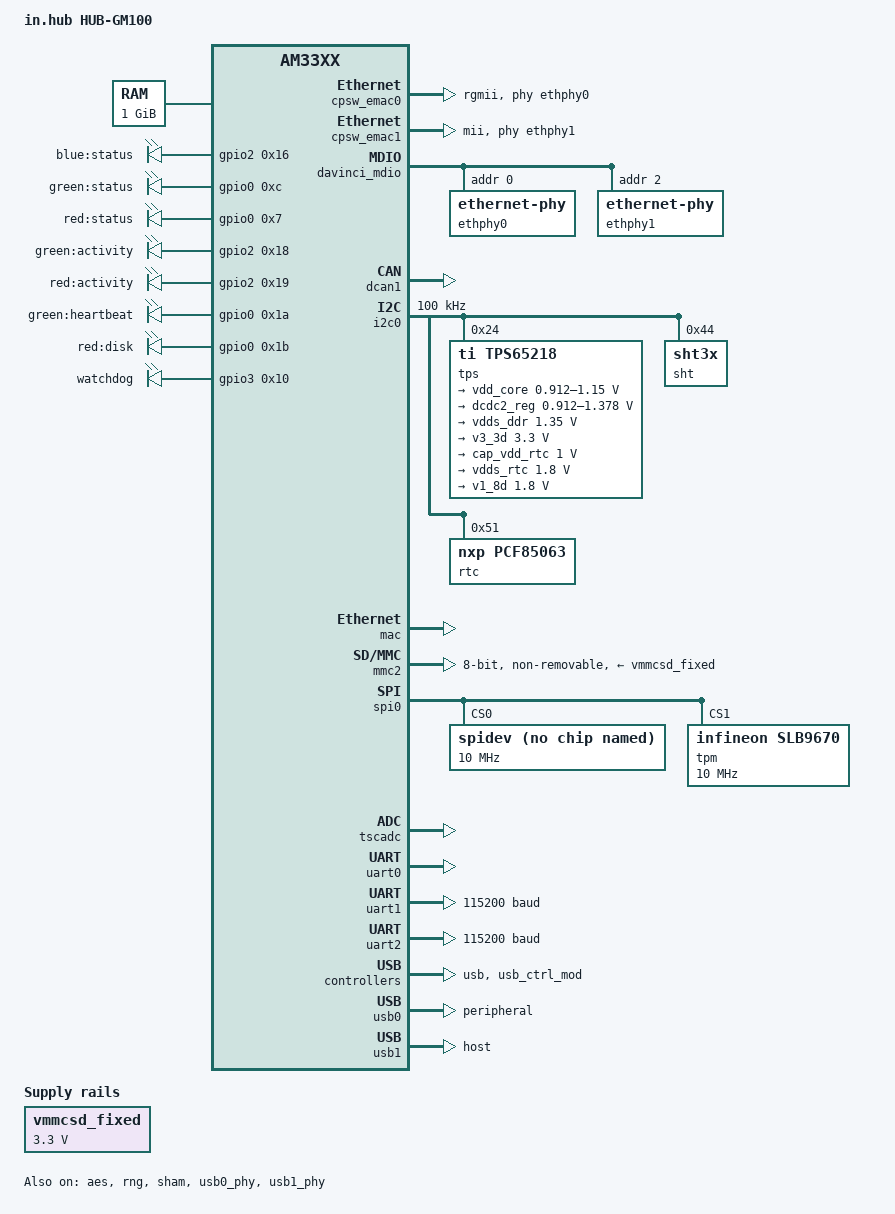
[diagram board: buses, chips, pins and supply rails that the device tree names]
// SPDX-License-Identifier: GPL-2.0-only
/*
 * Copyright 2025 in.hub GmbH
 */

/dts-v1/;

#include "am33xx.dtsi"

/ {
	model = "in.hub HUB-GM100";
	compatible = "ti,am335x-duoSol-I-xCom1", "inhub,hub-gm100", "ti,am33xx";

	cpus {
		cpu@0 {
			cpu0-supply = <&dcdc2_reg>;
		};
	};

	aliases {
		mmc0 = &mmc2;
		/delete-node/ mmc1;
		/delete-node/ mmc2;
	};

	memory {
		device_type = "memory";
		reg = <0x80000000 0x40000000>;
	};

	chosen {
		stdout-path = &uart0;
		tick-timer = &timer2;
	};

	vmmcsd_fixed: fixedregulator@0 {
		compatible = "regulator-fixed";
		regulator-name = "vmmcsd_fixed";
		regulator-min-microvolt = <3300000>;
		regulator-max-microvolt = <3300000>;
		regulator-boot-on;
	};

	leds {
		compatible = "gpio-leds";

		led_blue_status: blue-status {
			label = "blue:status";
			gpios = <&gpio2 0x16 0x0>;
			default-state = "off";
		};

		led_green_status: green-status {
			label = "green:status";
			gpios = <&gpio0 0xc 0x0>;
			default-state = "off";
		};

		led_red_status: red-status {
			label = "red:status";
			gpios = <&gpio0 0x7 0x0>;
			default-state = "off";
		};

		led_green_activity: green-activity {
			label = "green:activity";
			gpios = <&gpio2 0x18 0x0>;
			default-state = "off";
		};

		led_red_activity: red-activity {
			label = "red:activity";
			gpios = <&gpio2 0x19 0x0>;
			default-state = "off";
		};

		led_green_heartbeat: green-heartbeat {
			label = "green:heartbeat";
			gpios = <&gpio0 0x1a 0x0>;
			linux,default-trigger = "timer";
		};

		led_red_disk: red-disk {
			label = "red:disk";
			gpios = <&gpio0 0x1b 0x0>;
			default-state = "off";
			linux,default-trigger = "mmc0";
		};

		watchdog {
			label = "watchdog";
			gpios = <&gpio3 0x10 0x0>;
			linux,default-trigger = "heartbeat";
			default-state = "off";
		};
	};

};

&am33xx_pinmux {
	i2c0_pins: pinmux_i2c0_pins {
		pinctrl-single,pins = <
			AM33XX_PADCONF(AM335X_PIN_I2C0_SCL, PIN_INPUT, MUX_MODE0)
			AM33XX_PADCONF(AM335X_PIN_I2C0_SDA, PIN_INPUT, MUX_MODE0)
		>;
	};

	uart0_pins: pinmux_uart0_pins {
		pinctrl-single,pins = <
			AM33XX_PADCONF(AM335X_PIN_UART0_RXD, PIN_INPUT, MUX_MODE0)
			AM33XX_PADCONF(AM335X_PIN_UART0_TXD, PIN_OUTPUT, MUX_MODE0)
		>;
	};

	uart1_rs485_0_pins: pinmux_uart1_rs485_0_pins {
		pinctrl-single,pins = <
			AM33XX_PADCONF(AM335X_PIN_UART1_RXD, PIN_INPUT, MUX_MODE0)
			AM33XX_PADCONF(AM335X_PIN_UART1_TXD, PIN_OUTPUT, MUX_MODE0)
			AM33XX_PADCONF(AM335X_PIN_UART1_RTSN, PIN_OUTPUT, MUX_MODE7)
		>;
	};

	uart2_rs485_1_pins: pinmux_uart2_rs485_1_pins {
		pinctrl-single,pins = <
			AM33XX_PADCONF(AM335X_PIN_MII1_CRS, PIN_INPUT, MUX_MODE6)
			AM33XX_PADCONF(AM335X_PIN_MII1_RX_ER, PIN_OUTPUT, MUX_MODE6)
			AM33XX_PADCONF(AM335X_PIN_LCD_DATA9, PIN_OUTPUT, MUX_MODE7)
		>;
	};

	spi0_pins: spi0_pins_default {
		pinctrl-single,pins = <
			AM33XX_PADCONF(AM335X_PIN_SPI0_SCLK, PIN_INPUT_PULLUP, MUX_MODE0)
			AM33XX_PADCONF(AM335X_PIN_SPI0_D0, PIN_INPUT_PULLUP, MUX_MODE0)
			AM33XX_PADCONF(AM335X_PIN_SPI0_D1, PIN_INPUT_PULLUP, MUX_MODE0)
			AM33XX_PADCONF(AM335X_PIN_SPI0_CS0, PIN_INPUT_PULLUP, MUX_MODE0)
			AM33XX_PADCONF(AM335X_PIN_SPI0_CS1, PIN_INPUT_PULLUP, MUX_MODE0)
		>;
	};

	dcan1_pins: pinmux_dcan1_pins {
		pinctrl-single,pins = <
			AM33XX_IOPAD(0x096c, PIN_INPUT_PULLUP | MUX_MODE2) /* uart0_rtsn.dcan1_rx */
			AM33XX_IOPAD(0x0968, PIN_OUTPUT_PULLUP | MUX_MODE2) /* uart0_ctsn.dcan1_tx */
		>;
	};

	davinci_mdio_default: pinmux_mdio_pins_default {
		pinctrl-single,pins = <
			/* MDIO */
			AM33XX_IOPAD(AM335X_PIN_MDIO, PIN_INPUT_PULLUP | SLEWCTRL_FAST | MUX_MODE0)	/* mdio_data.mdio_data */
			AM33XX_IOPAD(AM335X_PIN_MDC, PIN_OUTPUT_PULLUP | MUX_MODE0)			/* mdio_clk.mdio_clk */
		>;
	};

	davinci_mdio_sleep: davinci_mdio_sleep {
		pinctrl-single,pins = <
			/* MDIO reset value */
			AM33XX_PADCONF(AM335X_PIN_MDIO, PIN_INPUT_PULLDOWN, MUX_MODE7)
			AM33XX_PADCONF(AM335X_PIN_MDC, PIN_INPUT_PULLDOWN, MUX_MODE7)
		>;
	};

	cpsw_default: cpsw-default {
		pinctrl-single,pins = <
			AM33XX_PADCONF(AM335X_PIN_MII1_TX_EN, PIN_OUTPUT_PULLDOWN, MUX_MODE2)	/* mii1_txen.rgmii1_tctl */
			AM33XX_PADCONF(AM335X_PIN_MII1_RX_DV, PIN_INPUT_PULLDOWN, MUX_MODE2)		/* mii1_rxdv.rgmii1_rctl */
			AM33XX_PADCONF(AM335X_PIN_MII1_TXD3, PIN_OUTPUT_PULLDOWN, MUX_MODE2)
			AM33XX_PADCONF(AM335X_PIN_MII1_TXD2, PIN_OUTPUT_PULLDOWN, MUX_MODE2)
			AM33XX_PADCONF(AM335X_PIN_MII1_TXD1, PIN_OUTPUT_PULLDOWN, MUX_MODE2)
			AM33XX_PADCONF(AM335X_PIN_MII1_TXD0, PIN_OUTPUT_PULLDOWN, MUX_MODE2)
			AM33XX_PADCONF(AM335X_PIN_MII1_TX_CLK, PIN_OUTPUT_PULLDOWN, MUX_MODE2)
			AM33XX_PADCONF(AM335X_PIN_MII1_RX_CLK, PIN_INPUT_PULLDOWN, MUX_MODE2)
			AM33XX_PADCONF(AM335X_PIN_MII1_RXD3, PIN_INPUT_PULLDOWN, MUX_MODE2)
			AM33XX_PADCONF(AM335X_PIN_MII1_RXD2, PIN_INPUT_PULLDOWN, MUX_MODE2)
			AM33XX_PADCONF(AM335X_PIN_MII1_RXD1, PIN_INPUT_PULLDOWN, MUX_MODE2)
			AM33XX_PADCONF(AM335X_PIN_MII1_RXD0, PIN_INPUT_PULLDOWN, MUX_MODE2)
		>;
	};

	cpsw_sleep: cpsw-sleep {
		pinctrl-single,pins = <
			AM33XX_PADCONF(AM335X_PIN_MII1_TX_EN, PIN_INPUT_PULLDOWN, MUX_MODE7)
			AM33XX_PADCONF(AM335X_PIN_MII1_RX_DV, PIN_INPUT_PULLDOWN, MUX_MODE7)
			AM33XX_PADCONF(AM335X_PIN_MII1_TXD3, PIN_INPUT_PULLDOWN, MUX_MODE7)
			AM33XX_PADCONF(AM335X_PIN_MII1_TXD2, PIN_INPUT_PULLDOWN, MUX_MODE7)
			AM33XX_PADCONF(AM335X_PIN_MII1_TXD1, PIN_INPUT_PULLDOWN, MUX_MODE7)
			AM33XX_PADCONF(AM335X_PIN_MII1_TXD0, PIN_INPUT_PULLDOWN, MUX_MODE7)
			AM33XX_PADCONF(AM335X_PIN_MII1_TX_CLK, PIN_INPUT_PULLDOWN, MUX_MODE7)
			AM33XX_PADCONF(AM335X_PIN_MII1_RX_CLK, PIN_INPUT_PULLDOWN, MUX_MODE7)
			AM33XX_PADCONF(AM335X_PIN_MII1_RXD3, PIN_INPUT_PULLDOWN, MUX_MODE7)
			AM33XX_PADCONF(AM335X_PIN_MII1_RXD2, PIN_INPUT_PULLDOWN, MUX_MODE7)
			AM33XX_PADCONF(AM335X_PIN_MII1_RXD1, PIN_INPUT_PULLDOWN, MUX_MODE7)
			AM33XX_PADCONF(AM335X_PIN_MII1_RXD0, PIN_INPUT_PULLDOWN, MUX_MODE7)
		>;
	};

	ethernet1_default: ethernet1_pins_default {
		pinctrl-single,pins = <
			AM33XX_PADCONF(AM335X_PIN_GPMC_A0, PIN_OUTPUT, MUX_MODE1)		/* gpmc_a0.mii2_txen */
			AM33XX_PADCONF(AM335X_PIN_GPMC_A1, PIN_INPUT_PULLDOWN, MUX_MODE1)	/* gpmc_a1.mii2_rxdv */
			AM33XX_PADCONF(AM335X_PIN_GPMC_A2, PIN_OUTPUT, MUX_MODE1)		/* gpmc_a2.mii2_txd3 */
			AM33XX_PADCONF(AM335X_PIN_GPMC_A3, PIN_OUTPUT, MUX_MODE1)		/* gpmc_a3.mii2_txd2 */
			AM33XX_PADCONF(AM335X_PIN_GPMC_A4, PIN_OUTPUT, MUX_MODE1)		/* gpmc_a4.mii2_txd1 */
			AM33XX_PADCONF(AM335X_PIN_GPMC_A5, PIN_OUTPUT, MUX_MODE1)		/* gpmc_a5.mii2_txd0 */
			AM33XX_PADCONF(AM335X_PIN_GPMC_A6, PIN_INPUT_PULLDOWN, MUX_MODE1)	/* gpmc_a6.mii2_txclk */
			AM33XX_PADCONF(AM335X_PIN_GPMC_A7, PIN_INPUT_PULLDOWN, MUX_MODE1)	/* gpmc_a7.mii2_rxclk */
			AM33XX_PADCONF(AM335X_PIN_GPMC_A8, PIN_INPUT_PULLDOWN, MUX_MODE1)	/* gpmc_a8.mii2_rxd3 */
			AM33XX_PADCONF(AM335X_PIN_GPMC_A9, PIN_INPUT_PULLDOWN, MUX_MODE1)	/* gpmc_a9.mii2_rxd2 */
			AM33XX_PADCONF(AM335X_PIN_GPMC_A10, PIN_INPUT_PULLDOWN, MUX_MODE1)	/* gpmc_a10.mii2_rxd1 */
			AM33XX_PADCONF(AM335X_PIN_GPMC_A11, PIN_INPUT_PULLDOWN, MUX_MODE1)	/* gpmc_a11.mii2_rxd0 */
			AM33XX_PADCONF(AM335X_PIN_GPMC_WPN, PIN_INPUT_PULLDOWN, MUX_MODE1)	/* gpmc_wpn.mii2_rxerr */
			AM33XX_PADCONF(AM335X_PIN_GPMC_BEN1, PIN_INPUT_PULLDOWN, MUX_MODE1)	/* gpmc_ben1.mii2_col */
		>;
	};

	ethernet1_sleep: ethernet1_pins_sleep {
		pinctrl-single,pins = <
			AM33XX_PADCONF(AM335X_PIN_GPMC_A0, PIN_OUTPUT, MUX_MODE7)
			AM33XX_PADCONF(AM335X_PIN_GPMC_A1, PIN_INPUT_PULLDOWN, MUX_MODE7)
			AM33XX_PADCONF(AM335X_PIN_GPMC_A2, PIN_OUTPUT, MUX_MODE7)
			AM33XX_PADCONF(AM335X_PIN_GPMC_A3, PIN_OUTPUT, MUX_MODE7)
			AM33XX_PADCONF(AM335X_PIN_GPMC_A4, PIN_OUTPUT, MUX_MODE7)
			AM33XX_PADCONF(AM335X_PIN_GPMC_A5, PIN_OUTPUT, MUX_MODE7)
			AM33XX_PADCONF(AM335X_PIN_GPMC_A6, PIN_INPUT_PULLDOWN, MUX_MODE7)
			AM33XX_PADCONF(AM335X_PIN_GPMC_A7, PIN_INPUT_PULLDOWN, MUX_MODE7)
			AM33XX_PADCONF(AM335X_PIN_GPMC_A8, PIN_INPUT_PULLDOWN, MUX_MODE7)
			AM33XX_PADCONF(AM335X_PIN_GPMC_A9, PIN_INPUT_PULLDOWN, MUX_MODE7)
			AM33XX_PADCONF(AM335X_PIN_GPMC_A10, PIN_INPUT_PULLDOWN, MUX_MODE7)
			AM33XX_PADCONF(AM335X_PIN_GPMC_A11, PIN_INPUT_PULLDOWN, MUX_MODE7)
			AM33XX_PADCONF(AM335X_PIN_GPMC_WPN, PIN_INPUT_PULLDOWN, MUX_MODE7)
			AM33XX_PADCONF(AM335X_PIN_GPMC_BEN1, PIN_INPUT_PULLDOWN, MUX_MODE7)
		>;
	};

	emmc_pins: pinmux_emmc_pins {
		pinctrl-single,pins = <
			AM33XX_PADCONF(AM335X_PIN_GPMC_CSN1, PIN_INPUT_PULLUP, MUX_MODE2)	/* gpmc_csn1.mmc1_clk */
			AM33XX_PADCONF(AM335X_PIN_GPMC_CSN2, PIN_INPUT_PULLUP, MUX_MODE2)	/* gpmc_csn2.mmc1_cmd */
			AM33XX_PADCONF(AM335X_PIN_GPMC_AD0, PIN_INPUT_PULLUP, MUX_MODE1)	/* gpmc_ad0.mmc1_dat0 */
			AM33XX_PADCONF(AM335X_PIN_GPMC_AD1, PIN_INPUT_PULLUP, MUX_MODE1)	/* gpmc_ad1.mmc1_dat1 */
			AM33XX_PADCONF(AM335X_PIN_GPMC_AD2, PIN_INPUT_PULLUP, MUX_MODE1)	/* gpmc_ad2.mmc1_dat2 */
			AM33XX_PADCONF(AM335X_PIN_GPMC_AD3, PIN_INPUT_PULLUP, MUX_MODE1)	/* gpmc_ad3.mmc1_dat3 */
			AM33XX_PADCONF(AM335X_PIN_GPMC_AD4, PIN_INPUT_PULLUP, MUX_MODE1)	/* gpmc_ad4.mmc1_dat4 */
			AM33XX_PADCONF(AM335X_PIN_GPMC_AD5, PIN_INPUT_PULLUP, MUX_MODE1)	/* gpmc_ad5.mmc1_dat5 */
			AM33XX_PADCONF(AM335X_PIN_GPMC_AD6, PIN_INPUT_PULLUP, MUX_MODE1)	/* gpmc_ad6.mmc1_dat6 */
			AM33XX_PADCONF(AM335X_PIN_GPMC_AD7, PIN_INPUT_PULLUP, MUX_MODE1)	/* gpmc_ad7.mmc1_dat7 */
		>;
	};

	emmc_idle: pinmux_cirq_pin {
		pinctrl-single,pins = <
			AM33XX_PADCONF(AM335X_PIN_GPMC_AD1, PIN_INPUT_PULLUP, MUX_MODE7)	/* gpmc_ad1.gpio1_1 */
		>;
	};

	pinmux_usb1_pins_default {
		pinctrl-single,pins = <
			AM33XX_PADCONF(AM335X_PIN_USB1_DRVVBUS, PIN_OUTPUT, MUX_MODE0)
		>;
	};

	gpio0_pins: pinmux_gpio0_pins {
		pinctrl-single,pins = <
			AM33XX_PADCONF(AM335X_PIN_ECAP0_IN_PWM0_OUT, PIN_INPUT, MUX_MODE7)
			AM33XX_PADCONF(AM335X_PIN_LCD_DATA12, PIN_INPUT, MUX_MODE7)
			AM33XX_PADCONF(AM335X_PIN_LCD_DATA13, PIN_INPUT, MUX_MODE7)
			AM33XX_PADCONF(AM335X_PIN_LCD_DATA14, PIN_INPUT, MUX_MODE7)
			AM33XX_PADCONF(AM335X_PIN_LCD_DATA15, PIN_INPUT, MUX_MODE7)
			AM33XX_PADCONF(AM335X_PIN_UART1_CTSN, PIN_INPUT, MUX_MODE7)
			AM33XX_PADCONF(AM335X_PIN_XDMA_EVENT_INTR0, PIN_INPUT, MUX_MODE7)
			AM33XX_PADCONF(AM335X_PIN_XDMA_EVENT_INTR1, PIN_INPUT, MUX_MODE7)
			AM33XX_PADCONF(AM335X_PIN_GPMC_AD8, PIN_INPUT, MUX_MODE7)
			AM33XX_PADCONF(AM335X_PIN_GPMC_AD9, PIN_INPUT, MUX_MODE7)
			AM33XX_PADCONF(AM335X_PIN_GPMC_AD10, PIN_INPUT, MUX_MODE7)
			AM33XX_PADCONF(AM335X_PIN_GPMC_AD11, PIN_INPUT, MUX_MODE7)
		>;
	};

	gpio1_pins: pinmux_gpio1_pins {
		pinctrl-single,pins = <
			AM33XX_PADCONF(AM335X_PIN_GPMC_AD12, PIN_INPUT, MUX_MODE7)
			AM33XX_PADCONF(AM335X_PIN_GPMC_AD13, PIN_INPUT, MUX_MODE7)
			AM33XX_PADCONF(AM335X_PIN_GPMC_AD14, PIN_INPUT, MUX_MODE7)
			AM33XX_PADCONF(AM335X_PIN_GPMC_AD15, PIN_INPUT, MUX_MODE7)
			AM33XX_PADCONF(AM335X_PIN_GPMC_CSN0, PIN_INPUT, MUX_MODE7)
		>;
	};

	gpio2_pins: pinmux_gpio2_pins {
		pinctrl-single,pins = <
			AM33XX_PADCONF(AM335X_PIN_GPMC_ADVN_ALE, PIN_INPUT, MUX_MODE7)
			AM33XX_PADCONF(AM335X_PIN_GPMC_OEN_REN, PIN_INPUT, MUX_MODE7)
			AM33XX_PADCONF(AM335X_PIN_GPMC_WEN, PIN_INPUT, MUX_MODE7)
			AM33XX_PADCONF(AM335X_PIN_GPMC_BEN0_CLE, PIN_INPUT, MUX_MODE7)
			AM33XX_PADCONF(AM335X_PIN_LCD_DATA0, PIN_INPUT, MUX_MODE7)
			AM33XX_PADCONF(AM335X_PIN_LCD_DATA1, PIN_INPUT, MUX_MODE7)
			AM33XX_PADCONF(AM335X_PIN_LCD_DATA2, PIN_INPUT, MUX_MODE7)
			AM33XX_PADCONF(AM335X_PIN_LCD_DATA3, PIN_INPUT, MUX_MODE7)
			AM33XX_PADCONF(AM335X_PIN_LCD_DATA4, PIN_INPUT, MUX_MODE7)
			AM33XX_PADCONF(AM335X_PIN_LCD_DATA5, PIN_INPUT, MUX_MODE7)
			AM33XX_PADCONF(AM335X_PIN_LCD_DATA6, PIN_INPUT, MUX_MODE7)
			AM33XX_PADCONF(AM335X_PIN_LCD_DATA7, PIN_INPUT, MUX_MODE7)
			AM33XX_PADCONF(AM335X_PIN_LCD_DATA8, PIN_INPUT, MUX_MODE7)
			AM33XX_PADCONF(AM335X_PIN_LCD_DATA10, PIN_INPUT, MUX_MODE7)
			AM33XX_PADCONF(AM335X_PIN_LCD_DATA11, PIN_INPUT, MUX_MODE7)
			AM33XX_PADCONF(AM335X_PIN_LCD_VSYNC, PIN_INPUT, MUX_MODE7)
			AM33XX_PADCONF(AM335X_PIN_LCD_HSYNC, PIN_INPUT, MUX_MODE7)
			AM33XX_PADCONF(AM335X_PIN_LCD_PCLK, PIN_INPUT, MUX_MODE7)
			AM33XX_PADCONF(AM335X_PIN_LCD_AC_BIAS_EN, PIN_INPUT, MUX_MODE7)
		>;
	};

	gpio3_pins: pinmux_gpio3_pins {
		pinctrl-single,pins = <
			AM33XX_PADCONF(AM335X_PIN_MII1_COL, PIN_INPUT, MUX_MODE7)
			AM33XX_PADCONF(AM335X_PIN_EMU0, PIN_INPUT, MUX_MODE7)
			AM33XX_PADCONF(AM335X_PIN_EMU1, PIN_INPUT, MUX_MODE7)
			AM33XX_PADCONF(AM335X_PIN_MCASP0_FSX, PIN_INPUT, MUX_MODE7)
			AM33XX_PADCONF(AM335X_PIN_MCASP0_AXR0, PIN_INPUT, MUX_MODE7)
			AM33XX_PADCONF(AM335X_PIN_MCASP0_AHCLKR, PIN_INPUT, MUX_MODE7)
			AM33XX_PADCONF(AM335X_PIN_MCASP0_FSR, PIN_INPUT, MUX_MODE7)
			AM33XX_PADCONF(AM335X_PIN_MCASP0_AXR1, PIN_INPUT, MUX_MODE7)
			AM33XX_PADCONF(AM335X_PIN_MCASP0_AHCLKX, PIN_INPUT, MUX_MODE7)
		>;
	};
};

&aes {
	status = "okay";
};

&cppi41dma {
	status = "okay";
};

&cpsw_emac0 {
	phy-handle = <&ethphy0>;
	phy-mode = "rgmii";
	dual_emac_res_vlan = <1>;
};

&cpsw_emac1 {
	phy-handle = <&ethphy1>;
	phy-mode = "mii";
	dual_emac_res_vlan = <2>;
};

&davinci_mdio {
	pinctrl-names = "default", "sleep";
	pinctrl-0 = <&davinci_mdio_default>;
	pinctrl-1 = <&davinci_mdio_sleep>;
	status = "okay";

	ethphy0: ethernet-phy@0 {
		reg = <0>;
	};

	ethphy1: ethernet-phy@2 {
		reg = <2>;
	};
};

&dcan1 {
	pinctrl-names = "default";
	pinctrl-0 = <&dcan1_pins>;
	status = "okay";
};

&gpio0 {
	pinctrl-names = "default";
	pinctrl-0 = <&gpio0_pins>;
	status = "okay";
	gpio-line-names =
		"",
		"",
		"",
		"",
		"",
		"",
		"",
		"",
		"",
		"",
		"",
		"",
		"",
		"",
		"",
		"",
		"",
		"",
		"",
		"",
		"",
		"",
		"",
		"RELAY",
		"",
		"",
		"",
		"",
		"",
		"",
		"",
		"";
};

&gpio1 {
	pinctrl-names = "default";
	pinctrl-0 = <&gpio1_pins>;
	status = "okay";
	gpio-line-names =
		"",
		"",
		"",
		"",
		"",
		"",
		"",
		"",
		"",
		"",
		"",
		"",
		"",
		"",
		"",
		"IO1_OUTPUT_CONTROL",
		"",
		"",
		"",
		"",
		"",
		"",
		"",
		"",
		"",
		"",
		"",
		"",
		"",
		"IO1_OUTPUT_VALUE",
		"",
		"";
};

&gpio2 {
	pinctrl-names = "default";
	pinctrl-0 = <&gpio2_pins>;
	status = "okay";
	gpio-line-names =
		"",
		"",
		"IO1_INPUT_VALUE",
		"IO2_OUTPUT_CONTROL",
		"IO2_OUTPUT_VALUE",
		"IO2_INPUT_VALUE",
		"AIN1_CFG1",
		"AIN2_CFG1",
		"",
		"",
		"",
		"AIN1_CFG2",
		"AIN1_CFG3",
		"AIN2_CFG2",
		"AIN2_CFG3",
		"",
		"",
		"",
		"",
		"",
		"",
		"",
		"",
		"",
		"",
		"",
		"",
		"",
		"",
		"",
		"",
		"";
};

&gpio3 {
	pinctrl-names = "default";
	pinctrl-0 = <&gpio3_pins>;
	status = "okay";
	gpio-line-names =
		"",
		"",
		"",
		"",
		"",
		"",
		"",
		"",
		"",
		"",
		"",
		"",
		"",
		"",
		"",
		"",
		"",
		"",
		"",
		"",
		"",
		"",
		"",
		"",
		"",
		"",
		"",
		"",
		"",
		"",
		"",
		"";
};

&i2c0 {
	pinctrl-names = "default";
	pinctrl-0 = <&i2c0_pins>;

	status = "okay";
	clock-frequency = <100000>;

	tps: tps@24 {
		reg = <0x24>;
		compatible = "ti,tps65218";
		interrupts = <7>;
		interrupt-controller;
		#interrupt-cells = <0x2>;

		regulator-dcdc1 {
			compatible = "ti,tps65218-dcdc1";
			regulator-name = "vdd_core";
			regulator-min-microvolt = <912000>;
			regulator-max-microvolt = <1150000>;
			regulator-boot-on;
			regulator-always-on;
		};

		dcdc2_reg: regulator-dcdc2 {
			compatible = "ti,tps65218-dcdc2";
			regulator-name = "vdd_mpu";
			regulator-min-microvolt = <912000>;
			regulator-max-microvolt = <1378000>;
			regulator-boot-on;
			regulator-always-on;
		};

		regulator-dcdc3 {
			compatible = "ti,tps65218-dcdc3";
			regulator-name = "vdds_ddr";
			regulator-min-microvolt = <1350000>;
			regulator-max-microvolt = <1350000>;
			regulator-boot-on;
			regulator-always-on;
		};

		regulator-dcdc4 {
			compatible = "ti,tps65218-dcdc4";
			regulator-name = "v3_3d";
			regulator-min-microvolt = <3300000>;
			regulator-max-microvolt = <3300000>;
			regulator-boot-on;
			regulator-always-on;
		};

		regulator-dcdc5 {
			compatible = "ti,tps65218-dcdc5";
			regulator-name = "cap_vdd_rtc";
			regulator-min-microvolt = <1000000>;
			regulator-max-microvolt = <1000000>;
			regulator-boot-on;
			regulator-always-on;
		};

		regulator-dcdc6 {
			compatible = "ti,tps65218-dcdc6";
			regulator-name = "vdds_rtc";
			regulator-min-microvolt = <1800000>;
			regulator-max-microvolt = <1800000>;
			regulator-boot-on;
			regulator-always-on;
		};

		regulator-ldo1 {
			compatible = "ti,tps65218-ldo1";
			regulator-name = "v1_8d";
			regulator-min-microvolt = <1800000>;
			regulator-max-microvolt = <1800000>;
			regulator-boot-on;
			regulator-always-on;
		};
	};

	sht@44 {
		compatible = "sht3x";
		reg = <0x44>;
	};

	rtc@51 {
		compatible = "nxp,pcf85063";
		reg = <0x51>;
	};
};

&mac {
	pinctrl-names = "default", "sleep";
	pinctrl-0 = <&cpsw_default &ethernet1_default>;
	pinctrl-1 = <&cpsw_sleep &ethernet1_sleep>;
	rx_descs = <0x40>;
	slaves = <2>;
	status = "okay";
	dual_emac = <1>;
};

&mmc2 {
	vmmc-supply = <&vmmcsd_fixed>;
	pinctrl-names = "default", "idle";
	pinctrl-0 = <&emmc_pins>;
	pinctrl-1 = <&emmc_idle>;
	bus-width = <8>;
	non-removable;
	status = "okay";
	interrupts-extended = <&intc 28 &gpio1 1 GPIO_ACTIVE_LOW>;
};

&rng {
	status = "okay";
};

&rtc {
	system-power-controller;
};

&sham {
	status = "okay";
};

&spi0 {
	pinctrl-names = "default";
	pinctrl-0 = <&spi0_pins>;
	status = "okay";

	spidev: spidev@0 {
		compatible = "linux,spidev";
		spi-max-frequency = <10000000>;
		reg = <0>;
		status = "okay";
	};

	tpm: tpm_slb9670@1 {
		compatible = "infineon,slb9670";
		reg = <1>;
		spi-max-frequency = <10000000>;
		status = "okay";
	};

};

&tscadc {
	status = "okay";

	adc {
		ti,adc-channels = <0 1 2 3 4 5 6 7>;
	};
};

&uart0 {
	pinctrl-names = "default";
	pinctrl-0 = <&uart0_pins>;
	status = "okay";
};

&uart1 {
	pinctrl-names = "default";
	pinctrl-0 = <&uart1_rs485_0_pins>;
	linux,rs485-enabled-at-boot-time;
	rs485-rts-delay = <0x0 0x0>;
	rs485-rts-active-high;
	rts-gpio = <&gpio0 13 GPIO_ACTIVE_HIGH>;
	current-speed = <115200>;
	status = "okay";
};

&uart2 {
	pinctrl-names = "default";
	pinctrl-0 = <&uart2_rs485_1_pins>;
	linux,rs485-enabled-at-boot-time;
	rs485-rts-delay = <0x0 0x0>;
	rs485-rts-active-high;
	rts-gpio = <&gpio2 15 GPIO_ACTIVE_HIGH>;
	current-speed = <115200>;
	status = "okay";
};

&usb {
	status = "okay";
};

&usb_ctrl_mod {
	status = "okay";
};

&usb0_phy {
	status = "okay";
};

&usb1_phy {
	status = "okay";
};

&usb0 {
	status = "okay";
	dr_mode = "peripheral";
};

&usb1 {
	status = "okay";
	dr_mode = "host";
};
